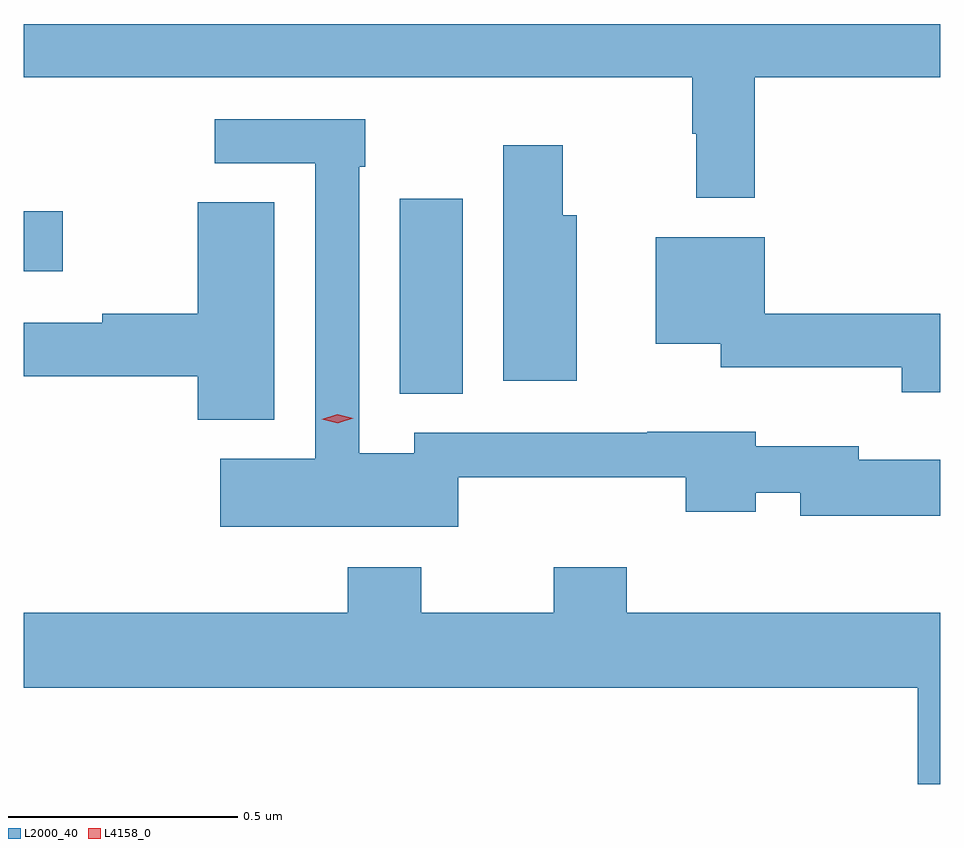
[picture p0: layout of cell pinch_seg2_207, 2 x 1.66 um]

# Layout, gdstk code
import gdstk
lib = gdstk.Library(unit=1e-6, precision=1e-09)
def R(c, l, rs):  # rectangles x0, y0, x1, y1
    for r in rs: c.add(gdstk.rectangle(r[:2], r[2:], *l))
def P(c, l, *ps):  # polygons
    for p in ps: c.add(gdstk.Polygon(p, *l))
L2000_40 = (2000, 40)
L4158_0 = (4158, 0)

pinch_seg2_207 = lib.new_cell('pinch_seg2_207')
R(pinch_seg2_207, L2000_40, [(984.317,665.593,984.454,666.019), (983.496,665.861,983.581,665.991)])
P(pinch_seg2_207, L2000_40, [(985.091,666.284),(985.496,666.284),(985.496,666.4),(983.496,666.4),(983.496,666.284),(984.955,666.284),(984.955,666.161),(984.963,666.161),(984.963,666.021),(985.091,666.021)],
  [(984.444,665.411),(984.941,665.411),(984.941,665.336),(985.093,665.336),(985.093,665.377),(985.19,665.377),(985.19,665.327),(985.496,665.327),(985.496,665.449),(985.318,665.449),(985.318,665.479),(985.093,665.479),(985.093,665.51),(984.857,665.51),(984.857,665.508),(984.348,665.508),(984.348,665.464),(984.228,665.464),(984.228,666.089),(984.241,666.089),(984.241,666.192),(983.913,666.192),(983.913,666.096),(984.132,666.096),(984.132,665.452),(983.925,665.452),(983.925,665.303),(984.444,665.303)],
  [(984.703,665.983),(984.672,665.983),(984.672,666.136),(984.542,666.136),(984.542,665.622),(984.703,665.622)],
  [(984.043,666.011),(983.876,666.011),(983.876,665.768),(983.668,665.768),(983.668,665.748),(983.496,665.748),(983.496,665.632),(983.876,665.632),(983.876,665.537),(984.043,665.537)],
  [(985.496,665.768),(985.113,665.768),(985.113,665.935),(984.875,665.935),(984.875,665.702),(985.017,665.702),(985.017,665.651),(985.412,665.651),(985.412,665.597),(985.496,665.597)],
  [(985.496,665.116),(984.812,665.116),(984.812,665.215),(984.652,665.215),(984.652,665.116),(984.363,665.116),(984.363,665.215),(984.203,665.215),(984.203,665.116),(983.496,665.116),(983.496,664.952),(985.447,664.952),(985.447,664.742),(985.496,664.742)])
P(pinch_seg2_207, L4158_0, [(984.181,665.529),(984.146,665.538),(984.146,665.538),(984.146,665.538),(984.18,665.549),(984.215,665.54),(984.215,665.54),(984.215,665.54)])

lib.write_gds('pinch_seg2_207.gds')
